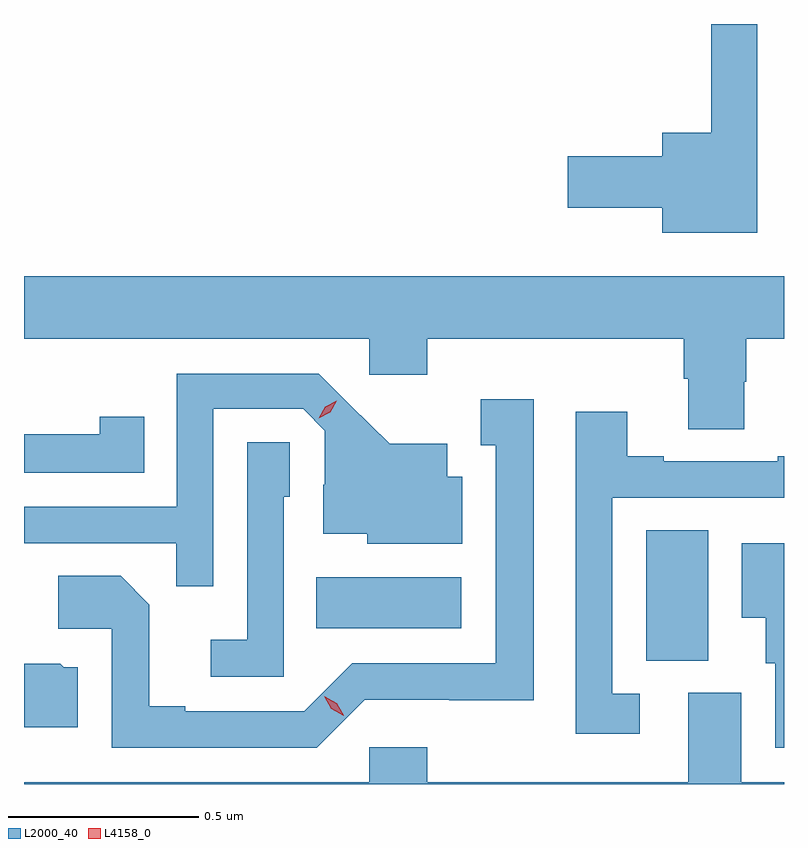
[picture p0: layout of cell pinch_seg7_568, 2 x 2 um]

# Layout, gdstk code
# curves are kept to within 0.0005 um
import gdstk
lib = gdstk.Library(unit=1e-6, precision=1e-09)
def R(c, l, rs):  # rectangles x0, y0, x1, y1
    for r in rs: c.add(gdstk.rectangle(r[:2], r[2:], *l))
def P(c, l, *ps):  # polygons
    for p in ps: c.add(gdstk.Polygon(p, *l))
L2000_40 = (2000, 40)
L4158_0 = (4158, 0)

pinch_seg7_568 = lib.new_cell('pinch_seg7_568')
R(pinch_seg7_568, L2000_40, [(171.98,1078.357,172.144,1078.7), (171.112,1078.442,171.493,1078.576)])
P(pinch_seg7_568, L2000_40, [(172.273,1080.032),(172.152,1080.032),(172.152,1079.746),(172.022,1079.746),(172.022,1079.684),(171.774,1079.684),(171.774,1079.549),(172.022,1079.549),(172.022,1079.483),(172.273,1079.483)],
  [(172.239,1079.091),(172.244,1079.091),(172.244,1079.204),(172.343,1079.204),(172.343,1079.368),(170.343,1079.368),(170.343,1079.204),(171.252,1079.204),(171.252,1079.109),(171.404,1079.109),(171.404,1079.204),(172.079,1079.204),(172.079,1079.098),(172.091,1079.098),(172.091,1078.966),(172.239,1078.966)],
  [(170.841,1079.019),(171.078,1079.019),(171.135,1078.962),(171.135,1078.82),(171.131,1078.82),(171.131,1078.691),(171.246,1078.691),(171.246,1078.664),(171.496,1078.664),(171.496,1078.84),(171.457,1078.84),(171.457,1078.927),(171.305,1078.927),(171.118,1079.112),(170.745,1079.112),(170.745,1078.761),(170.343,1078.761),(170.343,1078.665),(170.743,1078.665),(170.743,1078.552),(170.841,1078.552)],
  [(171.24,1078.254),(171.462,1078.254),(171.462,1078.253),(171.685,1078.253),(171.685,1079.044),(171.545,1079.044),(171.545,1078.923),(171.584,1078.923),(171.584,1078.35),(171.207,1078.35),(171.081,1078.224),(170.767,1078.224),(170.767,1078.237),(170.673,1078.237),(170.673,1078.504),(170.597,1078.58),(170.433,1078.58),(170.433,1078.44),(170.574,1078.44),(170.574,1078.128),(171.114,1078.128)],
  [(171.964,1078.269),(171.891,1078.269),(171.891,1078.785),(172.343,1078.785),(172.343,1078.894),(172.327,1078.894),(172.327,1078.881),(172.027,1078.881),(172.027,1078.894),(171.931,1078.894),(171.931,1079.011),(171.795,1079.011),(171.795,1078.164),(171.964,1078.164)],
  [(170.66,1078.999),(170.542,1078.999),(170.542,1078.952),(170.343,1078.952),(170.343,1078.851),(170.66,1078.851)],
  [(171.027,1078.788),(171.042,1078.788),(171.042,1078.931),(170.931,1078.931),(170.931,1078.411),(170.835,1078.411),(170.835,1078.314),(171.027,1078.314)],
  [(172.343,1078.666),(172.232,1078.666),(172.232,1078.469),(172.295,1078.469),(172.295,1078.35),(172.32,1078.35),(172.32,1078.128),(172.343,1078.128)],
  [(170.485,1078.339),(170.447,1078.339),(170.438,1078.348),(170.343,1078.348),(170.343,1078.181),(170.485,1078.181)],
  [(172.343,1078.036),(172.231,1078.036),(172.231,1078.272),(172.091,1078.272),(172.091,1078.036),(171.404,1078.036),(171.404,1078.129),(171.252,1078.129),(171.252,1078.036),(170.343,1078.036),(170.343,1078.032),(172.343,1078.032)])
P(pinch_seg7_568, L4158_0, [(171.184,1078.212),(171.151,1078.23),(171.133,1078.263),(171.133,1078.263),(171.133,1078.263),(171.166,1078.245),(171.184,1078.213),(171.184,1078.212)],
  [(171.118,1078.995),(171.118,1078.995),(171.136,1079.025),(171.166,1079.04),(171.166,1079.04),(171.166,1079.04),(171.149,1079.01),(171.119,1078.995)])

lib.write_gds('pinch_seg7_568.gds')
